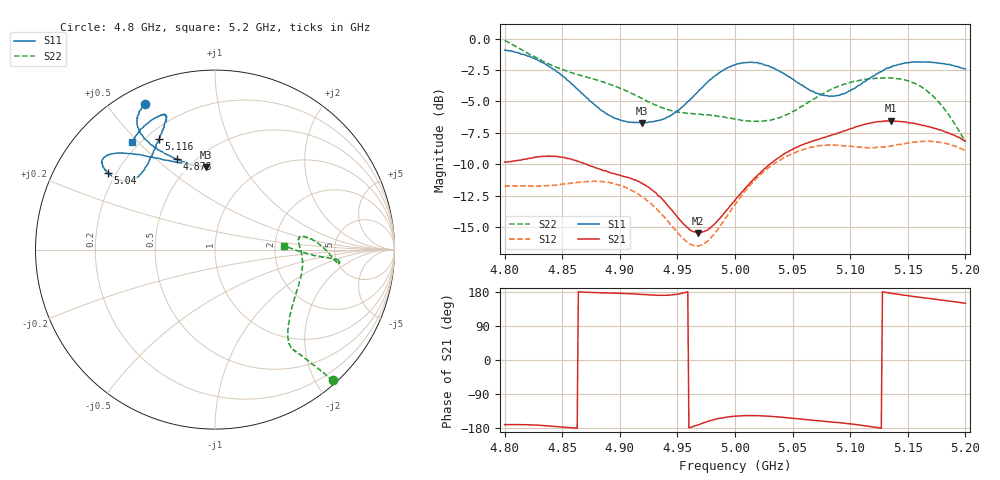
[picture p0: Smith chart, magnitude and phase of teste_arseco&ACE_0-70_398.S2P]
! Network Analyzer HP8722D
! Hewlett-Packard
! Data name: Linha & Wilkinson
! Saver's name: Rodrigo Anjos
! Comments: Teste da utilização de aquisição
! continua pelo VNA HP8722D
! Time and date: 8/5/2025 16:04
!  Frequency  S11  S21  S12  S22
# HZ  S  MA R 50
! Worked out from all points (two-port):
!   401 points, 4.8 GHz to 5.2 GHz, reference 50 ohm
!   highest |S21| = -6.54 dB at 5.135 GHz (marker M1); lowest = -15.5 dB at 4.968 GHz (marker M2)
!   |S21| within 3 dB of the highest: 4.822 GHz to 4.854 GHz (31.84 MHz wide, 0.658 % of centre); 5.037 GHz to end of sweep (the widest 2 of 3)
!   lowest |S11| = -6.7 dB at 4.919 GHz (marker M3), VSWR 2.71, Z = 30 + j34.9 ohm
!   |S11| at or under -10 dB: nowhere
!   |S22| runs from -8.2 to -0.2 dB; largest |S21 - S12| = 0.83
!   S11 on the Smith chart (normalised r, x): 4.8 GHz: 0.07, +0.62; 4.878 GHz: 0.41, +0.58; 5.04 GHz: 0.17, +0.31; 5.116 GHz: 0.25, +0.59; 5.2 GHz: 0.17, +0.48
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4.8e9  0.8984 115.8  0.3229 -170.6  0.2589 -86.2  0.9824 -47.9
4.834e9  0.7983 122.3  0.3398 -173.0  0.2591 -77.1  0.8089 -50.0
4.849e9  0.7171 122.0  0.3375 -176.7  0.263 -72.2  0.7552 -50.9
4.867e9  0.6049 117.6  0.3206 179.3  0.2686 -67.8  0.7111 -51.9
4.878e9  0.5455 112.8  0.3073 177.8  0.2704 -66.5  0.688 -52.1
4.899e9  0.4766 101.2  0.2865 175.9  0.2619 -67.3  0.6381 -50.4
4.919e9  0.4608 96.2  0.2662 173.1  0.235 -69.5  0.5784 -44.7
4.934e9  0.4723 100.0  0.236 170.8  0.2055 -69.9  0.5353 -37.0
4.958e9  0.5542 116.8  0.1778 179.2  0.1553 -58.7  0.5034 -21.2
4.968e9  0.6158 123.7  0.1682 -171.1  0.1492 -47.8  0.4999 -15.2
4.98e9  0.6932 130.1  0.1788 -158.7  0.1629 -34.1  0.4947 -9.2
5e9  0.7871 137.3  0.227 -148.3  0.219 -21.6  0.4773 -0.3
5.019e9  0.802 141.8  0.2838 -147.0  0.2784 -18.9  0.469 5.8
5.04e9  0.736 144.4  0.3405 -150.9  0.3297 -19.0  0.4865 8.8
5.067e9  0.6172 142.0  0.3907 -158.8  0.3701 -21.4  0.5684 4.0
5.088e9  0.593 133.1  0.4186 -164.7  0.3755 -24.6  0.6407 -2.5
5.116e9  0.6906 116.8  0.4593 -175.0  0.3673 -27.5  0.6891 -6.1
5.134e9  0.7642 110.8  0.4693 176.9  0.3723 -29.6  0.6967 -5.5
5.135e9  0.7717 110.9  0.4711 176.4  0.3734 -29.6  0.6976 -5.5
5.15e9  0.7997 110.5  0.4625 169.7  0.3834 -32.7  0.6793 -4.7
5.166e9  0.8051 113.9  0.4483 163.4  0.39 -37.5  0.6229 -4.1
5.2e9  0.7562 127.7  0.3904 149.8  0.358 -47.3  0.3873 3.3
